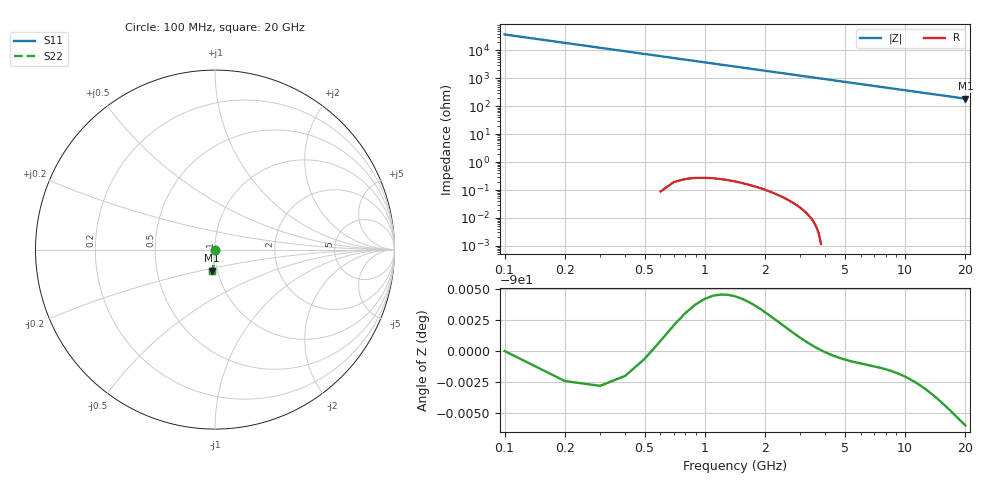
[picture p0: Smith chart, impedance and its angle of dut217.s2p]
! Touchstone file exported from HFSS 2026.1.0
!  File:  C:/ffzhzh/LocalFiles/Ansys_Project_Files/temp_train_TSV_217_1782992115_40604.aedt
!  Generated:  07:36:30 PM Jul  2, 2026
!  Design:  TSV
!  Project:  temp_train_TSV_217_1782992115_40604
! Variables:
!  h_bsmrdl = 2um
!  h_ox = 20um
!  h_rdl = 5um
!  h_sub = 50.29um
!  h_tmrdl = 5um
!  h_tsv = 50.29um
!  h_via = 3um
!  l_bsmrdl = 300um
!  l_sub = 429.44um
!  l_tmrdl = 200um
!  m_sub = 200um
!  pitch = 31.82um
!  r_tsv = 14.72um
!  s_tmrdl = 10um
!  w_bsmrdl = 18um
!  w_sub = 500um
!  w_tmrdl = 12um
!  x_tsv_center1 = 206um
!  x_tsv_center2 = 524um
!  x_tsv_center3 = 736um
!  x_tsv_center4 = 1054um
!  x_tsv_center5 = 1266um
!  x_tsv_center6 = 1584um
# GHz S MA R 50.000000
! Terminal data exported
! Port[1] = TSV1_1_T1
! Port[2] = TSV1_1_T2
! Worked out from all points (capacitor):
!   200 points, 100 MHz to 20 GHz, reference 50 ohm
!   read as one part in shunt: C = 42.4 fF near 200 MHz
!   lowest |Z| = 188 ohm at 20 GHz (marker M1)
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0.1  0.0005589 -83.1  0.9999 -0.0  0.9999 -0.0  0.0005589 -83.1
! Gamma 0 0 0 0
! Port Impedance 50 0 50 0
0.2  0.001117 -85.8  0.9999 -0.1  0.9999 -0.1  0.001117 -85.8
0.3  0.001685 -86.5  0.9999 -0.1  0.9999 -0.1  0.001685 -86.5
0.4  0.002261 -86.9  0.9999 -0.2  0.9999 -0.2  0.002261 -86.9
0.5  0.002844 -87.1  0.9998 -0.2  0.9998 -0.2  0.002844 -87.1
0.7  0.004024 -87.5  0.9998 -0.3  0.9998 -0.3  0.004024 -87.5
0.8  0.004618 -87.6  0.9998 -0.3  0.9998 -0.3  0.004618 -87.6
1  0.00581 -88.0  0.9997 -0.4  0.9997 -0.4  0.00581 -88.0
1.2  0.007004 -88.3  0.9997 -0.5  0.9997 -0.5  0.007004 -88.3
1.4  0.008197 -88.6  0.9997 -0.6  0.9997 -0.6  0.008197 -88.6
1.7  0.009987 -88.9  0.9996 -0.7  0.9996 -0.7  0.009987 -88.9
2  0.01178 -89.2  0.9996 -0.9  0.9996 -0.9  0.01178 -89.2
2.7  0.01595 -89.8  0.9995 -1.1  0.9995 -1.1  0.01595 -89.8
3.5  0.02072 -90.3  0.9994 -1.5  0.9994 -1.5  0.02072 -90.3
4.2  0.0249 -90.7  0.9992 -1.8  0.9992 -1.8  0.0249 -90.7
5  0.02969 -91.1  0.999 -2.1  0.999 -2.1  0.02969 -91.1
6.8  0.04046 -92.0  0.9986 -2.9  0.9986 -2.9  0.04046 -92.0
8.3  0.04944 -92.7  0.9981 -3.5  0.9981 -3.5  0.04944 -92.7
10.1  0.0602 -93.5  0.9974 -4.2  0.9974 -4.2  0.0602 -93.5
13.4  0.07987 -95.0  0.9959 -5.6  0.9959 -5.6  0.07987 -95.0
16.7  0.09945 -96.4  0.994 -7.0  0.994 -7.0  0.09945 -96.4
20  0.1189 -97.8  0.9918 -8.4  0.9918 -8.4  0.1189 -97.8
